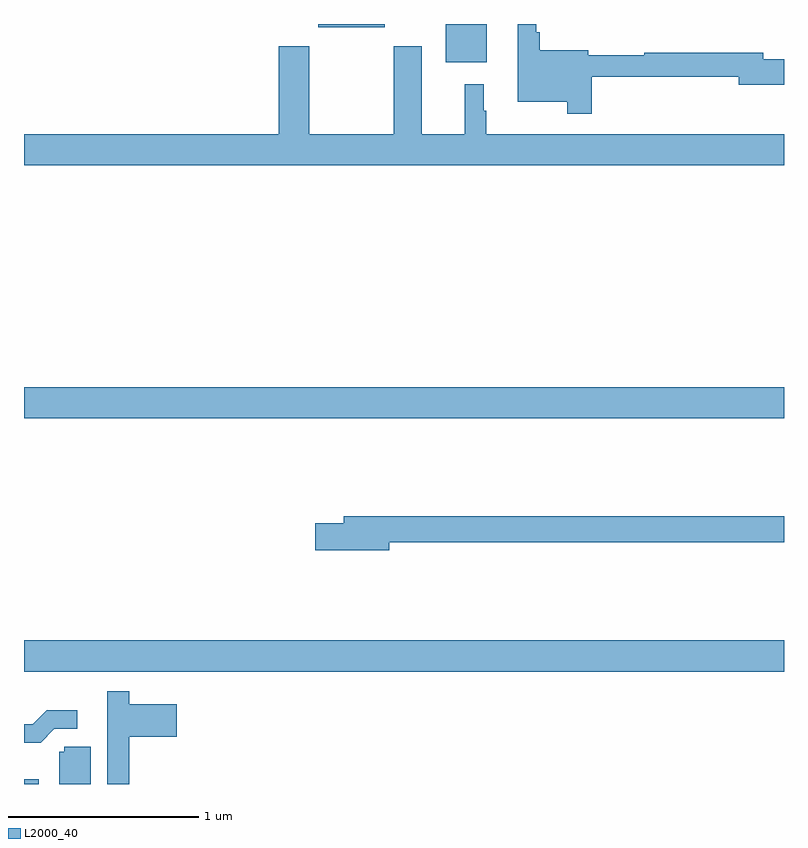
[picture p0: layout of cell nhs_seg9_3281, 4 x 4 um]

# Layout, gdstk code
import gdstk
lib = gdstk.Library(unit=1e-6, precision=1e-09)
def R(c, l, rs):  # rectangles x0, y0, x1, y1
    for r in rs: c.add(gdstk.rectangle(r[:2], r[2:], *l))
def P(c, l, *ps):  # polygons
    for p in ps: c.add(gdstk.Polygon(p, *l))
L2000_40 = (2000, 40)

nhs_seg9_3281 = lib.new_cell('nhs_seg9_3281')
R(nhs_seg9_3281, L2000_40, [(299,1190.5,299.077,1190.524), (299,1191.092,303,1191.256), (299,1192.424,303,1192.588), (301.22,1194.299,301.435,1194.5), (300.548,1194.482,300.898,1194.5)])
P(nhs_seg9_3281, L2000_40, [(301.988,1194.222),(302.762,1194.222),(302.762,1194.179),(303,1194.179),(303,1194.314),(302.89,1194.314),(302.89,1194.35),(302.265,1194.35),(302.265,1194.335),(301.969,1194.335),(301.969,1194.361),(301.715,1194.361),(301.715,1194.457),(301.695,1194.457),(301.695,1194.5),(301.598,1194.5),(301.598,1194.092),(301.86,1194.092),(301.86,1194.027),(301.988,1194.027)],
  [(303,1193.92),(301.432,1193.92),(301.432,1194.044),(301.42,1194.044),(301.42,1194.184),(301.321,1194.184),(301.321,1193.92),(301.093,1193.92),(301.093,1194.382),(300.946,1194.382),(300.946,1193.92),(300.501,1193.92),(300.501,1194.382),(300.341,1194.382),(300.341,1193.92),(299,1193.92),(299,1193.756),(303,1193.756)],
  [(300.922,1191.772),(303,1191.772),(303,1191.908),(300.683,1191.908),(300.683,1191.872),(300.534,1191.872),(300.534,1191.73),(300.922,1191.73)],
  [(299.555,1190.75),(299.803,1190.75),(299.803,1190.92),(299.555,1190.92),(299.555,1190.989),(299.438,1190.989),(299.438,1190.766),(299.439,1190.766),(299.439,1190.5),(299.555,1190.5)],
  [(299.16,1190.79),(299.281,1190.79),(299.281,1190.887),(299.119,1190.887),(299.046,1190.814),(299,1190.814),(299,1190.717),(299.087,1190.717)],
  [(299.35,1190.697),(299.211,1190.697),(299.211,1190.67),(299.186,1190.67),(299.186,1190.5),(299.35,1190.5)])

lib.write_gds('nhs_seg9_3281.gds')
